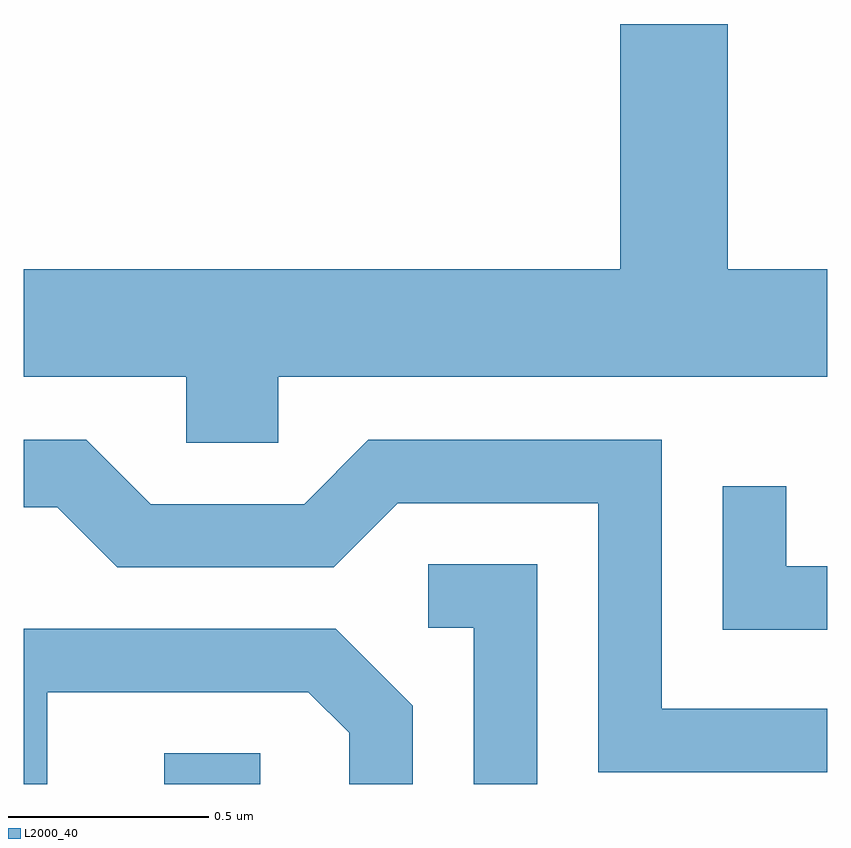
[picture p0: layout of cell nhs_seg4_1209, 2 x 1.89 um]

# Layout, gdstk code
import gdstk
lib = gdstk.Library(unit=1e-6, precision=1e-09)
def R(c, l, rs):  # rectangles x0, y0, x1, y1
    for r in rs: c.add(gdstk.rectangle(r[:2], r[2:], *l))
def P(c, l, *ps):  # polygons
    for p in ps: c.add(gdstk.Polygon(p, *l))
L2000_40 = (2000, 40)

nhs_seg4_1209 = lib.new_cell('nhs_seg4_1209')
R(nhs_seg4_1209, L2000_40, [(193.961,1366.982,194.199,1367.059)])
P(nhs_seg4_1209, L2000_40, [(194.244,1367.996),(195.611,1367.996),(195.611,1368.264),(195.364,1368.264),(195.364,1368.874),(195.096,1368.874),(195.096,1368.264),(193.611,1368.264),(193.611,1367.996),(194.016,1367.996),(194.016,1367.831),(194.244,1367.831)],
  [(195.611,1367.169),(195.199,1367.169),(195.199,1367.839),(194.469,1367.839),(194.309,1367.679),(193.927,1367.679),(193.767,1367.839),(193.611,1367.839),(193.611,1367.671),(193.694,1367.671),(193.844,1367.521),(194.382,1367.521),(194.542,1367.681),(195.041,1367.681),(195.041,1367.011),(195.611,1367.011)],
  [(195.611,1367.524),(195.509,1367.524),(195.509,1367.723),(195.351,1367.723),(195.351,1367.366),(195.611,1367.366)],
  [(194.889,1367.529),(194.618,1367.529),(194.618,1367.371),(194.731,1367.371),(194.731,1366.982),(194.889,1366.982)],
  [(193.669,1367.211),(194.319,1367.211),(194.421,1367.109),(194.421,1366.982),(194.579,1366.982),(194.579,1367.177),(194.387,1367.369),(193.611,1367.369),(193.611,1366.982),(193.669,1366.982)])

lib.write_gds('nhs_seg4_1209.gds')
